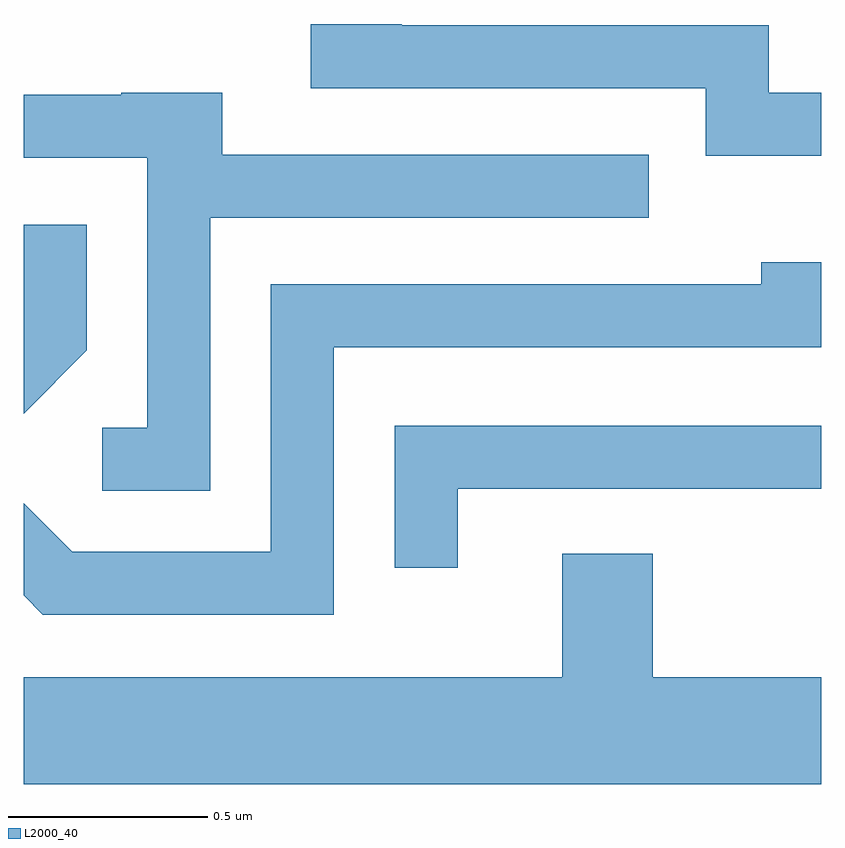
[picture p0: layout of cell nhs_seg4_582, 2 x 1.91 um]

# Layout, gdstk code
import gdstk
lib = gdstk.Library(unit=1e-6, precision=1e-09)
def P(c, l, *ps):  # polygons
    for p in ps: c.add(gdstk.Polygon(p, *l))
L2000_40 = (2000, 40)

nhs_seg4_582 = lib.new_cell('nhs_seg4_582')
P(nhs_seg4_582, L2000_40, [(191.611,1289.809),(191.479,1289.809),(191.479,1289.979),(190.559,1289.979),(190.559,1289.982),(189.963,1289.982),(189.963,1289.981),(190.331,1289.981),(190.331,1289.821),(191.321,1289.821),(191.321,1289.651),(191.611,1289.651)],
  [(190.079,1289.496),(191.178,1289.496),(191.178,1289.654),(190.109,1289.654),(190.109,1289.809),(189.855,1289.809),(189.855,1289.804),(189.611,1289.804),(189.611,1289.646),(189.921,1289.646),(189.921,1288.969),(189.808,1288.969),(189.808,1288.811),(190.079,1288.811)],
  [(189.769,1289.164),(189.769,1289.478),(189.611,1289.478),(189.611,1289.005)],
  [(190.389,1289.171),(191.611,1289.171),(191.611,1289.384),(191.461,1289.384),(191.461,1289.329),(190.231,1289.329),(190.231,1288.659),(189.732,1288.659),(189.611,1288.78),(189.611,1288.549),(189.659,1288.501),(190.389,1288.501)],
  [(190.699,1288.816),(191.611,1288.816),(191.611,1288.974),(190.541,1288.974),(190.541,1288.618),(190.699,1288.618)],
  [(191.611,1288.344),(191.189,1288.344),(191.189,1288.654),(190.961,1288.654),(190.961,1288.344),(189.611,1288.344),(189.611,1288.076),(191.611,1288.076)])

lib.write_gds('nhs_seg4_582.gds')
